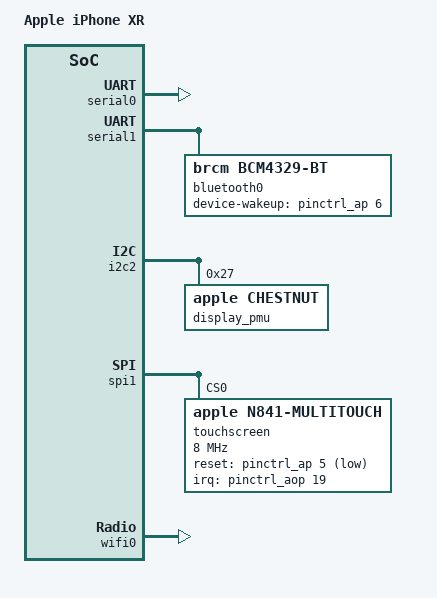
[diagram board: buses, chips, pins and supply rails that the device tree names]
// SPDX-License-Identifier: GPL-2.0+ OR MIT
/* Minimal Linux bring-up description for iPhone XR (N841AP, T8020). */
/dts-v1/;
#include <dt-bindings/pinctrl/apple.h>
#include "t8020.dtsi"

/ {
    compatible = "apple,n841", "apple,t8020", "apple,arm-platform";
    model = "Apple iPhone XR";
    chassis-type = "handset";

    aliases {
        serial0 = &serial0;
        serial1 = &serial1;
        ausbphy0 = &ausbphy0;
        touchscreen0 = &touchscreen;
        wifi0 = &wifi0;
        bluetooth0 = &bluetooth0;
    };

    chosen {
        #address-cells = <2>;
        #size-cells = <2>;
        ranges;
        stdout-path = "serial0";
        framebuffer0: framebuffer@0 {
            compatible = "apple,simple-framebuffer", "simple-framebuffer";
            reg = <0 0 0 0>;
            power-domains = <&ps_disp0_be &ps_mipi_dsi &ps_disp0_hilo &ps_disp0_ppp>;
            status = "disabled";
        };
    };

    memory@800000000 {
        device_type = "memory";
        reg = <0x8 0 0 0>;
    };

    reserved-memory {
        #address-cells = <2>;
        #size-cells = <2>;
        ranges;
    };
};

&serial0 { status = "okay"; };

/*
 * The kernel is shared with the XS Max (d331p), which turns on the H11P
 * display driver and the SoC temperature sensors. Neither is tried on the
 * XR, which stays on simpledrm.
 */
&disp0 { status = "disabled"; };
&dsi { status = "disabled"; };
&tempsensor_pmgr { status = "disabled"; };
&tempsensor_acc { status = "disabled"; };
&tempsensor_acce { status = "disabled"; };

/*
 * N841 UART1 is the four-pin group retained on AP GPIOs 30..33.  The Apple
 * ADT explicitly names TX30 and RTS32; RX31/CTS33 are the intervening pins
 * retained in peripheral function 1.  Select the complete group before the
 * serdev child opens, matching the working T8010 Bluetooth lifecycle.
 */
&pinctrl_ap {
    bluetooth_uart1_pins: bluetooth-uart1-pins {
        pinmux = <APPLE_PINMUX(30, 1)>,
                 <APPLE_PINMUX(31, 1)>,
                 <APPLE_PINMUX(32, 1)>,
                 <APPLE_PINMUX(33, 1)>;
    };
};

/*
 * N841 ADT: /arm-io/uart1/bluetooth, compatible bluetooth,n88.
 * UART1 is 0x235204000 / IRQ 387; transport-speed is 3 Mbit/s.
 * The controller's exact Broadcom revision is learned via HCI, so use the
 * generic Broadcom H4 serdev binding rather than XS Max's PCIe BT device.
 * function-power_enable resolves to the SMC gP09 key; function-bt_wake is
 * AP GPIO 6.  The parent UART explicitly selects pins 30..33 as function 1.
 */
&serial1 {
    status = "okay";
    pinctrl-0 = <&bluetooth_uart1_pins>;
    pinctrl-names = "default";
    uart-has-rtscts;

    bluetooth0: bluetooth {
        compatible = "brcm,bcm4329-bt";
        /* Firmware build 1072 rejects LE extended scan opcode 0x2041. */
        brcm,broken-ext-scan;
        /* Broadcom reset/identification rate, then the ADT operational rate. */
        current-speed = <115200>;
        max-speed = <3000000>;
        /* ADT function-power_enable: pKW4(gP09, 0 | enabled). */
        apple,power-function = <&smc 0x67503039 0>;
        device-wakeup-gpios = <&pinctrl_ap 6 0>;
        /* The pack step replaces this with reversed syscfg/BMac bytes. */
        local-bd-address = [00 00 00 00 00 00];
    };
};

/* N841 ADT: Chestnut display PMU on I2C2, address 0x27. */
&i2c2 {
    status = "okay";

    display_pmu: pmu@27 {
        compatible = "apple,chestnut";
        reg = <0x27>;
    };
};

/*
 * N841 multitouch: spi-1,samsung, CS 67, reset 5, AOP interrupt 19.
 * The firmware is generated from N841_Multitouch.im4p personality C1FC2,1.
 * The driver polls HIDSPI, so the interrupt description is retained for the
 * eventual IRQ path but is not required for first bring-up.
 */
&spi1 {
    status = "okay";

    touchscreen: touchscreen@0 {
        compatible = "apple,n841-multitouch", "apple,hbpp-multitouch";
        reg = <0>;
        spi-max-frequency = <8000000>;
        reset-gpios = <&pinctrl_ap 5 1>;
        interrupts-extended = <&pinctrl_aop 19 8>;
        firmware-name = "apple/n841-mtfw.bin";
        apple,calibration-name = "apple/n841-mtcal.bin";

        /* function-power_ana: Chestnut LDO 2 = register 5, bit 0x10. */
        apple,pmu-ldo = <&display_pmu 0x05 0x10>;
        /* function-power_ldo rBK3, then function-clock_enable gP00. */
        apple,smc-function = <&smc 0x72424b33 0x05020000>;
        apple,smc-function2 = <&smc 0x67503030 0x08000000>;

        /* Approximate 1/100 mm ranges; calibrate from raw reports later. */
        touchscreen-size-x = <6500>;
        touchscreen-size-y = <14000>;
        touchscreen-inverted-y;
    };
};

/*
 * N841 Wi-Fi: Apple/Broadcom BCM4357 B1 (PCI 14e4:440a), module-instance
 * "yodak", on APCIE port 2. Bluetooth is the separate N88 UART device and
 * must not be described as PCI function 1 as it is on D331p/N104.
 *
 * m1n1 can replace the placeholders from the live Apple ADT. A later pack
 * step also supplies this phone's WMac/WSKU/WCAL from syscfg when available.
 */
&port02 {
    bus-range = <1 1>;

    wifi0: wifi@0,0 {
        compatible = "pci14e4,440a";
        reg = <0x10000 0x0 0x0 0x0 0x0>;
        local-mac-address = [00 00 00 00 00 00];
        apple,antenna-sku = "R";
        brcm,board-type = "apple,yodak";
    };
};
